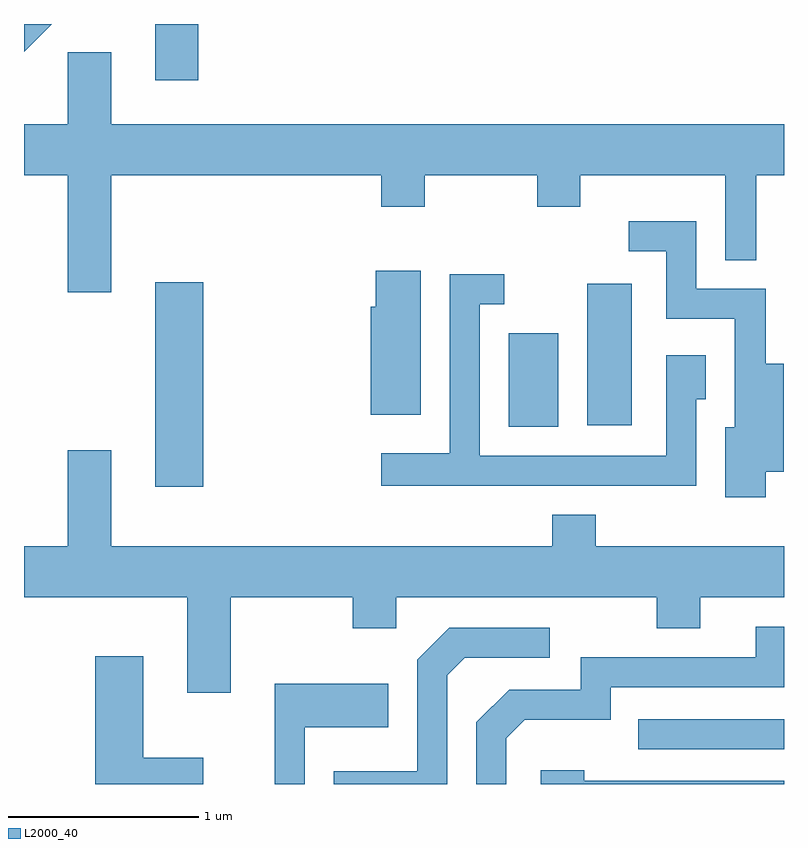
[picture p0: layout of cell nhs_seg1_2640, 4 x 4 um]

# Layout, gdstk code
import gdstk
lib = gdstk.Library(unit=1e-6, precision=1e-09)
def R(c, l, rs):  # rectangles x0, y0, x1, y1
    for r in rs: c.add(gdstk.rectangle(r[:2], r[2:], *l))
def P(c, l, *ps):  # polygons
    for p in ps: c.add(gdstk.Polygon(p, *l))
L2000_40 = (2000, 40)

nhs_seg1_2640 = lib.new_cell('nhs_seg1_2640')
R(nhs_seg1_2640, L2000_40, [(268.843,889.896,269.611,890.054), (266.301,891.276,266.554,892.354), (268.161,891.591,268.424,892.084), (268.576,891.601,268.809,892.344), (266.301,893.416,266.529,893.712)])
P(nhs_seg1_2640, L2000_40, [(265.758,893.712),(265.611,893.712),(265.611,893.566),(265.612,893.566)],
  [(266.069,892.916),(267.491,892.916),(267.491,892.751),(267.719,892.751),(267.719,892.916),(268.311,892.916),(268.311,892.751),(268.539,892.751),(268.539,892.916),(269.301,892.916),(269.301,892.468),(269.464,892.468),(269.464,892.916),(269.611,892.916),(269.611,893.184),(266.069,893.184),(266.069,893.564),(265.841,893.564),(265.841,893.184),(265.611,893.184),(265.611,892.916),(265.841,892.916),(265.841,892.301),(266.069,892.301)],
  [(269.514,891.356),(269.609,891.356),(269.609,891.924),(269.514,891.924),(269.514,892.319),(269.149,892.319),(269.149,892.674),(268.793,892.674),(268.793,892.516),(268.991,892.516),(268.991,892.161),(269.351,892.161),(269.351,891.589),(269.301,891.589),(269.301,891.221),(269.514,891.221)],
  [(267.699,892.414),(267.461,892.414),(267.461,892.224),(267.436,892.224),(267.436,891.656),(267.699,891.656)],
  [(269.149,891.736),(269.199,891.736),(269.199,891.969),(268.991,891.969),(268.991,891.439),(268.009,891.439),(268.009,892.236),(268.138,892.236),(268.138,892.394),(267.851,892.394),(267.851,891.454),(267.491,891.454),(267.491,891.281),(269.149,891.281)],
  [(266.699,890.696),(267.341,890.696),(267.341,890.531),(267.569,890.531),(267.569,890.696),(268.941,890.696),(268.941,890.531),(269.169,890.531),(269.169,890.696),(269.611,890.696),(269.611,890.964),(268.619,890.964),(268.619,891.129),(268.391,891.129),(268.391,890.964),(266.069,890.964),(266.069,891.469),(265.841,891.469),(265.841,890.964),(265.611,890.964),(265.611,890.696),(266.471,890.696),(266.471,890.191),(266.699,890.191)],
  [(268.149,889.954),(268.247,890.051),(268.699,890.051),(268.699,890.221),(269.611,890.221),(269.611,890.539),(269.461,890.539),(269.461,890.379),(268.541,890.379),(268.541,890.209),(268.164,890.209),(267.991,890.037),(267.991,889.712),(268.149,889.712)],
  [(267.839,890.284),(267.932,890.376),(268.378,890.376),(268.378,890.534),(267.849,890.534),(267.681,890.367),(267.681,889.779),(267.241,889.779),(267.241,889.712),(267.839,889.712)],
  [(266.554,889.849),(266.239,889.849),(266.239,890.384),(265.986,890.384),(265.986,889.712),(266.554,889.712)],
  [(267.089,890.011),(267.529,890.011),(267.529,890.239),(266.931,890.239),(266.931,889.712),(267.089,889.712)],
  [(269.611,889.729),(268.559,889.729),(268.559,889.784),(268.331,889.784),(268.331,889.712),(269.611,889.712)])

lib.write_gds('nhs_seg1_2640.gds')
